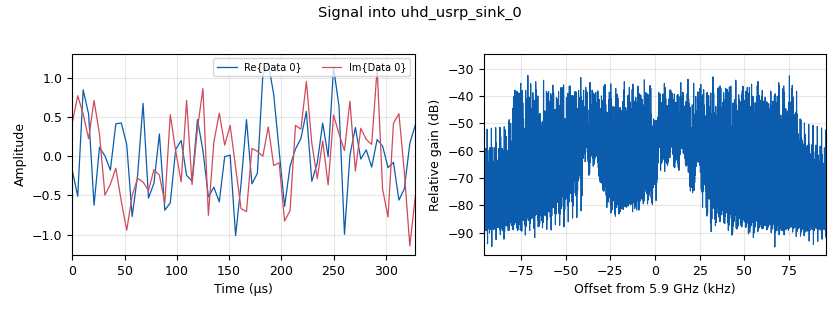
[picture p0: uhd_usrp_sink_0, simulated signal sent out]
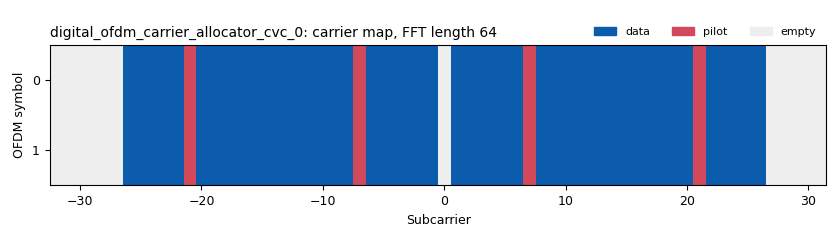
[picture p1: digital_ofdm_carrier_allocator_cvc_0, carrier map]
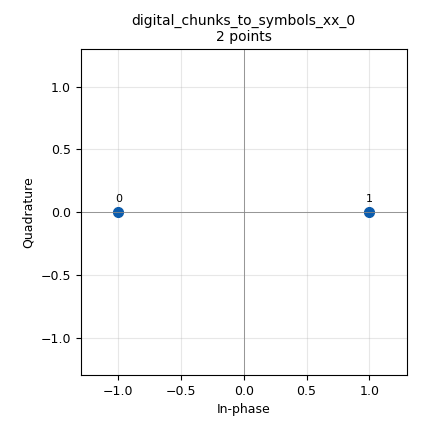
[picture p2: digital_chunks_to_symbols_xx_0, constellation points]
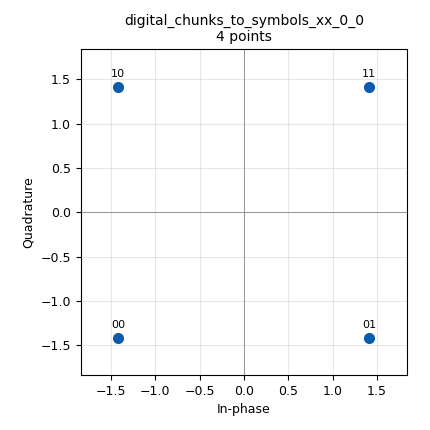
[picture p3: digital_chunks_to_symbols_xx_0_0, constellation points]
options:
  parameters:
    category: Custom
    description: Example of an OFDM receiver
    generate_options: no_gui
    id: rx_ofdm
    output_language: python
    title: OFDM Rx
  states: {}

blocks:
- name: date
  id: variable
  parameters:
    value: '"10_28"'
  states: {}
- name: fft_len
  id: variable
  parameters:
    value: '64'
  states: {}
- name: header_equalizer
  id: variable
  parameters:
    value: digital.ofdm_equalizer_simpledfe(fft_len, header_mod.base(), occupied_carriers, pilot_carriers, pilot_symbols)
  states: {}
- name: header_formatter
  id: variable
  parameters:
    value: digital.packet_header_ofdm(occupied_carriers, n_syms=1, len_tag_key=packet_length_tag_key, frame_len_tag_key=length_tag_key, bits_per_header_sym=header_mod.bits_per_symbol(), bits_per_payload_sym=payload_mod.bits_per_symbol(), scramble_header=False)
  states: {}
- name: header_mod
  id: variable
  parameters:
    value: digital.constellation_bpsk()
  states: {}
- name: length_tag_key
  id: variable
  parameters:
    value: '"frame_len"'
  states: {}
- name: occupied_carriers
  id: variable
  parameters:
    value: (list(range(-26, -21)) + list(range(-20, -7)) + list(range(-6, 0)) + list(range(1, 7)) + list(range(8, 21)) + list(range(22, 27)),)
  states: {}
- name: packet_len
  id: variable
  parameters:
    value: '32'
  states: {}
- name: packet_length_tag_key
  id: variable
  parameters:
    value: '"packet_len"'
  states: {}
- name: payload_equalizer
  id: variable
  parameters:
    value: digital.ofdm_equalizer_simpledfe(fft_len, payload_mod.base(), occupied_carriers, pilot_carriers, pilot_symbols, 1)
  states: {}
- name: payload_equalizer_1
  id: variable
  parameters:
    value: digital.ofdm_equalizer_simpledfe(fft_len, payload_mod.base(), occupied_carriers, pilot_carriers, pilot_symbols, 1,enable_soft_output = True)
  states: {}
- name: payload_mod
  id: variable
  parameters:
    value: digital.constellation_qpsk()
  states: {}
- name: pilot_carriers
  id: variable
  parameters:
    value: ((-21, -7, 7, 21,),)
  states: {}
- name: pilot_symbols
  id: variable
  parameters:
    value: ((1, 1, 1, -1,),)
  states: {}
- name: rolloff
  id: variable
  parameters:
    value: '0'
  states: {}
- name: samp_rate
  id: variable
  parameters:
    value: 192e3
  states: {}
- name: sdigit
  id: variable
  parameters:
    value: '"num_0_4"'
  states: {}
- name: sync_word1
  id: variable
  parameters:
    value: '[0., 0., 0., 0., 0., 0., 0., 1.41421356, 0., -1.41421356, 0., 1.41421356, 0., -1.41421356, 0., -1.41421356, 0., -1.41421356, 0., 1.41421356, 0., -1.41421356, 0., 1.41421356, 0., -1.41421356, 0., -1.41421356, 0., -1.41421356, 0., -1.41421356, 0., 1.41421356, 0., -1.41421356, 0., 1.41421356, 0., 1.41421356, 0., 1.41421356, 0., -1.41421356, 0., 1.41421356, 0., 1.41421356, 0., 1.41421356, 0., -1.41421356, 0., 1.41421356, 0., 1.41421356, 0., 1.41421356, 0., 0., 0., 0., 0., 0.]'
  states: {}
- name: sync_word2
  id: variable
  parameters:
    value: '[0j, 0j, 0j, 0j, 0j, 0j, (-1+0j), (-1+0j), (-1+0j), (-1+0j), (1+0j), (1+0j), (-1+0j), (-1+0j), (-1+0j), (1+0j), (-1+0j), (1+0j), (1+0j), (1 +0j), (1+0j), (1+0j), (-1+0j), (-1+0j), (-1+0j), (-1+0j), (-1+0j), (1+0j), (-1+0j), (-1+0j), (1+0j), (-1+0j), 0j, (1+0j), (-1+0j), (1+0j), (1+0j), (1+0j), (-1+0j), (1+0j), (1+0j), (1+0j), (-1+0j), (1+0j), (1+0j), (1+0j), (1+0j), (-1+0j), (1+0j), (-1+0j), (-1+0j), (-1+0j), (1+0j), (-1+0j), (1+0j), (-1+0j), (-1+0j), (-1+0j), (-1+0j), 0j, 0j, 0j, 0j, 0j]'
  states: {}
- name: analog_frequency_modulator_fc_0
  id: analog_frequency_modulator_fc
  parameters:
    sensitivity: '-2.0/fft_len'
  states: {}
- name: analog_frequency_modulator_fc_0_0
  id: analog_frequency_modulator_fc
  parameters:
    sensitivity: '-2.0/fft_len'
  states: {state: disabled}
- name: analog_random_source_x_0
  id: analog_random_source_x
  parameters:
    max: '255'
    min: '0'
    num_samps: '1000'
    repeat: 'True'
    type: byte
  states: {state: disabled}
- name: blocks_delay_0
  id: blocks_delay
  parameters:
    delay: fft_len+fft_len//4
    type: complex
  states: {}
- name: blocks_delay_0_0
  id: blocks_delay
  parameters:
    delay: fft_len+fft_len//4
    type: complex
  states: {state: disabled}
- name: blocks_multiply_const_vxx_0
  id: blocks_multiply_const_vxx
  parameters:
    const: '0.05'
    type: complex
  states: {}
- name: blocks_multiply_xx_0
  id: blocks_multiply_xx
  parameters:
    type: complex
  states: {}
- name: blocks_multiply_xx_0_0
  id: blocks_multiply_xx
  parameters:
    type: complex
  states: {state: disabled}
- name: blocks_repack_bits_bb_0
  id: blocks_repack_bits_bb
  parameters:
    align_output: 'True'
    endianness: gr.GR_LSB_FIRST
    k: payload_mod.bits_per_symbol()
    l: '8'
    len_tag_key: packet_length_tag_key
  states: {}
- name: blocks_repack_bits_bb_0_0
  id: blocks_repack_bits_bb
  parameters:
    endianness: gr.GR_LSB_FIRST
    k: '8'
    l: payload_mod.bits_per_symbol()
    len_tag_key: length_tag_key
  states: {}
- name: blocks_repack_bits_bb_0_1
  id: blocks_repack_bits_bb
  parameters:
    align_output: 'True'
    endianness: gr.GR_LSB_FIRST
    k: payload_mod.bits_per_symbol()
    l: '8'
    len_tag_key: packet_length_tag_key
  states: {state: disabled}
- name: blocks_stream_to_tagged_stream_0
  id: blocks_stream_to_tagged_stream
  parameters:
    len_tag_key: length_tag_key
    packet_len: packet_len
    type: byte
  states: {}
- name: blocks_tag_debug_1
  id: blocks_tag_debug
  parameters:
    name: Rx Bytes
    type: byte
  states: {}
- name: blocks_tag_debug_1_0
  id: blocks_tag_debug
  parameters:
    name: Rx Bytes
    type: byte
  states: {state: disabled}
- name: blocks_tag_gate_0
  id: blocks_tag_gate
  parameters:
    propagate_tags: 'False'
    type: complex
  states: {}
- name: blocks_tagged_stream_mux_0
  id: blocks_tagged_stream_mux
  parameters:
    lengthtagname: length_tag_key
    ninputs: '2'
    type: complex
  states: {}
- name: blocks_throttle2_0
  id: blocks_throttle2
  parameters:
    samples_per_second: samp_rate
    type: complex
  states: {state: disabled}
- name: blocks_throttle2_0_0
  id: blocks_throttle2
  parameters:
    samples_per_second: samp_rate
    type: complex
  states: {state: disabled}
- name: blocks_vector_source_x_0
  id: blocks_vector_source_x
  parameters:
    repeat: 'True'
    type: byte
    vector: (61, 4, 174, 32, 35, 122, 114, 215, 180, 187, 218, 60, 200, 89, 217, 33, 58, 107, 182, 234, 121, 79, 219, 46, 24, 25, 26, 27, 28, 29, 30, 31)
  states: {}
- name: channels_channel_model_0
  id: channels_channel_model
  parameters:
    block_tags: 'True'
    epsilon: '1.0'
    freq_offset: 0 * 1.0/fft_len
    noise_voltage: '0.1'
    seed: '0'
    taps: '1.0'
  states: {state: disabled}
- name: customModule_Serlizsig_0
  id: customModule_Serlizsig
  parameters:
    carr_offset_key: ''
    fft_len: fft_len
    input_is_shifted: 'True'
    len_tag_key: length_tag_key
    occupied_carriers: occupied_carriers
    packet_len_tag_key: packet_length_tag_key
    signal_filename: '"Corase_grained_CFO_3_8_testing.txt"'
    symbols_skipped: '1'
    taps_filename: ''
  states: {state: disabled}
- name: customModule_Serlizsig_0_0
  id: customModule_Serlizsig
  parameters:
    carr_offset_key: ''
    fft_len: fft_len
    input_is_shifted: 'True'
    len_tag_key: length_tag_key
    occupied_carriers: occupied_carriers
    packet_len_tag_key: packet_length_tag_key
    signal_filename: f"baseband_{date}_{sdigit}.txt"
    symbols_skipped: '1'
    taps_filename: f"taps_{date}_{sdigit}.txt"
  states: {}
- name: customModule_Serlizsig_0_0_0
  id: customModule_Serlizsig
  parameters:
    carr_offset_key: ''
    fft_len: fft_len
    input_is_shifted: 'True'
    len_tag_key: length_tag_key
    occupied_carriers: occupied_carriers
    packet_len_tag_key: packet_length_tag_key
    signal_filename: '"baseband_3_22_1.txt"'
    symbols_skipped: '1'
    taps_filename: '"taps_3_22_1.txt"'
  states: {state: disabled}
- name: customModule_Serlizsig_0_0_1
  id: customModule_Serlizsig
  parameters:
    carr_offset_key: ''
    fft_len: fft_len
    input_is_shifted: 'True'
    len_tag_key: length_tag_key
    occupied_carriers: occupied_carriers
    packet_len_tag_key: packet_length_tag_key
    signal_filename: f"baseband_{date}_{sdigit}_noeq.txt"
    symbols_skipped: '1'
    taps_filename: '"not_useful_taps.txt"'
  states: {state: disabled}
- name: customModule_Serlizsig_0_0_1_0
  id: customModule_Serlizsig
  parameters:
    carr_offset_key: ''
    fft_len: fft_len
    input_is_shifted: 'True'
    len_tag_key: length_tag_key
    occupied_carriers: occupied_carriers
    packet_len_tag_key: packet_length_tag_key
    signal_filename: f"eve_baseband_{date}_{loc}_{device_index}_noeq.txt"
    symbols_skipped: '1'
    taps_filename: '"not_useful_taps.txt"'
  states: {state: disabled}
- name: customModule_Serlizsig_0_0_2
  id: customModule_Serlizsig
  parameters:
    carr_offset_key: ''
    fft_len: fft_len
    input_is_shifted: 'True'
    len_tag_key: length_tag_key
    occupied_carriers: occupied_carriers
    packet_len_tag_key: packet_length_tag_key
    signal_filename: f"baseband_{date}_{loc}_{device_index}_mapping.txt"
    symbols_skipped: '1'
    taps_filename: '"useless.txt"'
  states: {state: disabled}
- name: customModule_Serlizsig_0_0_2_0
  id: customModule_Serlizsig
  parameters:
    carr_offset_key: ''
    fft_len: fft_len
    input_is_shifted: 'True'
    len_tag_key: length_tag_key
    occupied_carriers: occupied_carriers
    packet_len_tag_key: packet_length_tag_key
    signal_filename: f"baseband_{date}_{loc}_{device_index}_mapping.txt"
    symbols_skipped: '1'
    taps_filename: '"useless.txt"'
  states: {state: disabled}
- name: customModule_Serlizsig_0_0_3
  id: customModule_Serlizsig
  parameters:
    carr_offset_key: ''
    fft_len: fft_len
    input_is_shifted: 'True'
    len_tag_key: length_tag_key
    occupied_carriers: occupied_carriers
    packet_len_tag_key: packet_length_tag_key
    signal_filename: f"baseband_{date}_{loc}_{device_index}_nomapping.txt"
    symbols_skipped: '1'
    taps_filename: f"eve_taps_{date}_{loc}_{device_index}.txt"
  states: {state: disabled}
- name: customModule_getBaseband_0
  id: customModule_getBaseband
  parameters:
    baseband_filename: '"baseband1.txt"'
    fft_len: fft_len
  states: {state: disabled}
- name: customModule_getCFO_0
  id: customModule_getCFO
  parameters:
    freq_offsets_filename: '"Corase_grained_CFO_3_8_testing.txt"'
    sensitivity: '-2.0/fft_len'
  states: {state: disabled}
- name: customModule_getEqlizedsig_0
  id: customModule_getEqlizedsig
  parameters:
    cp_len: fft_len // 4
    equalizer: payload_equalizer_1.base()
    equlizedsig_filename: '"eqsig_test.txt"'
    fft_len: fft_len
    len_tag_key: length_tag_key
  states: {state: disabled}
- name: customModule_getEqlizedsig_0_0
  id: customModule_getEqlizedsig
  parameters:
    cp_len: fft_len // 4
    equalizer: payload_equalizer_1.base()
    equlizedsig_filename: '"eqsig_test.txt"'
    fft_len: fft_len
    len_tag_key: length_tag_key
  states: {state: disabled}
- name: customModule_getPayload_0
  id: customModule_getPayload
  parameters:
    fft_len: fft_len
    payload_filename: f"fft_payload_{date}_{sdigit}.txt"
  states: {}
- name: customModule_getPayload_0_0
  id: customModule_getPayload
  parameters:
    fft_len: fft_len
    payload_filename: f"eve_rawiq_{date}_{device_index}.txt"
  states: {state: disabled}
- name: customModule_getPayload_2
  id: customModule_getPayload
  parameters:
    fft_len: fft_len
    payload_filename: '"header_2_20.txt"'
  states: {state: disabled}
- name: customModule_getSignal_0
  id: customModule_getSignal
  parameters:
    signal_filename: '"transimitted_signal_2_20.txt"'
    type: complex
  states: {state: disabled}
- name: customModule_getSignal_1
  id: customModule_getSignal
  parameters:
    signal_filename: f"after_crc_{date}_{sdigit}.txt"
    type: byte
  states: {}
- name: customModule_getSyncsymbol_0
  id: customModule_getSyncsymbol
  parameters:
    force_one_symbol: 'False'
    max_carr_offset: '3'
    n_data_symbols: '1'
    sync_filename1: '"fine_cfo_3_11_b_1.txt"'
    sync_filename2: '"sync_testing.txt"'
    sync_symbol1: sync_word1
    sync_symbol2: sync_word2
  states: {state: disabled}
- name: customModule_getTaps_0
  id: customModule_getTaps
  parameters:
    carrier_offsets_filename: '"offsets_2_26.txt"'
    channel_taps_filename: '"tap_2_20.txt"'
    cp_len: int(fft_len/4)
    fft_len: fft_len
    fixed_frame_len: '0'
    propagate_channel_state: 'True'
  states: {state: disabled}
- name: customModule_recordBaseband_0
  id: customModule_recordBaseband
  parameters:
    cfo_filename: ''
    cfo_type: complex
    guard_interval: fft_len // 4
    header_len: ''
    header_padding: '0'
    items_per_symbol: fft_len
    length_tag_key: '"frame_len"'
    output_symbols: 'False'
    payload_filename: ''
    rawiq_filename: ''
    samp_rate: samp_rate
    special_tags: (,)
    timing_tag_key: '"rx_time"'
    trigger_tag_key: '""'
    type: complex
  states: {state: disabled}
- name: customModule_recordBaseband_1
  id: customModule_recordBaseband
  parameters:
    cfo_filename: f"corase_cfo_{date}_{sdigit}.txt"
    cfo_type: float
    guard_interval: fft_len // 4
    header_len: '3'
    header_padding: '0'
    items_per_symbol: fft_len
    length_tag_key: length_tag_key
    output_symbols: 'True'
    payload_filename: '"okoko.txt"'
    rawiq_filename: f"rawiq_{date}_{sdigit}.txt"
    samp_rate: samp_rate
    special_tags: ()
    timing_tag_key: '"rx_time"'
    trigger_tag_key: '""'
    type: complex
  states: {}
- name: customModule_recordBaseband_1_0
  id: customModule_recordBaseband
  parameters:
    cfo_filename: f"eve_corase_cfo_{date}_{loc}_{device_index}.txt"
    cfo_type: float
    guard_interval: fft_len // 4
    header_len: '3'
    header_padding: '0'
    items_per_symbol: fft_len
    length_tag_key: length_tag_key
    output_symbols: 'True'
    payload_filename: '"okoko.txt"'
    rawiq_filename: f"eve_rawiq_{date}_{loc}_{device_index}.txt"
    samp_rate: samp_rate
    special_tags: ()
    timing_tag_key: '"rx_time"'
    trigger_tag_key: '""'
    type: complex
  states: {state: disabled}
- name: digital_chunks_to_symbols_xx_0
  id: digital_chunks_to_symbols_xx
  parameters:
    dimension: '1'
    in_type: byte
    out_type: complex
    symbol_table: header_mod.points()
  states: {}
- name: digital_chunks_to_symbols_xx_0_0
  id: digital_chunks_to_symbols_xx
  parameters:
    dimension: '1'
    in_type: byte
    out_type: complex
    symbol_table: payload_mod.points()
  states: {}
- name: digital_constellation_decoder_cb_0
  id: digital_constellation_decoder_cb
  parameters:
    constellation: header_mod.base()
  states: {}
- name: digital_constellation_decoder_cb_0_0
  id: digital_constellation_decoder_cb
  parameters:
    constellation: header_mod.base()
  states: {state: disabled}
- name: digital_constellation_decoder_cb_1
  id: digital_constellation_decoder_cb
  parameters:
    constellation: payload_mod.base()
  states: {}
- name: digital_constellation_decoder_cb_1_0
  id: digital_constellation_decoder_cb
  parameters:
    constellation: payload_mod.base()
  states: {state: disabled}
- name: digital_crc32_bb_0
  id: digital_crc32_bb
  parameters:
    check: 'True'
    lengthtagname: packet_length_tag_key
    packed: 'True'
  states: {}
- name: digital_crc32_bb_0_0
  id: digital_crc32_bb
  parameters:
    check: 'False'
    lengthtagname: length_tag_key
    packed: 'True'
  states: {}
- name: digital_crc32_bb_0_1
  id: digital_crc32_bb
  parameters:
    check: 'True'
    lengthtagname: packet_length_tag_key
    packed: 'True'
  states: {state: disabled}
- name: digital_header_payload_demux_0
  id: digital_header_payload_demux
  parameters:
    guard_interval: fft_len//4
    header_len: '3'
    header_padding: '0'
    items_per_symbol: fft_len
    length_tag_key: length_tag_key
    output_symbols: 'True'
    samp_rate: samp_rate
    special_tags: ()
    timing_tag_key: '"rx_time"'
    type: complex
  states: {state: disabled}
- name: digital_ofdm_carrier_allocator_cvc_0
  id: digital_ofdm_carrier_allocator_cvc
  parameters:
    fft_len: fft_len
    len_tag_key: length_tag_key
    occupied_carriers: occupied_carriers
    output_is_shifted: 'True'
    pilot_carriers: pilot_carriers
    pilot_symbols: pilot_symbols
    sync_words: (sync_word1, sync_word2)
  states: {}
- name: digital_ofdm_chanest_vcvc_0
  id: digital_ofdm_chanest_vcvc
  parameters:
    force_one_symbol: 'False'
    max_carr_offset: '3'
    n_data_symbols: '1'
    sync_symbol1: sync_word1
    sync_symbol2: sync_word2
  states: {}
- name: digital_ofdm_chanest_vcvc_0_0
  id: digital_ofdm_chanest_vcvc
  parameters:
    force_one_symbol: 'False'
    max_carr_offset: '3'
    n_data_symbols: '1'
    sync_symbol1: sync_word1
    sync_symbol2: sync_word2
  states: {state: disabled}
- name: digital_ofdm_cyclic_prefixer_0
  id: digital_ofdm_cyclic_prefixer
  parameters:
    cp_len: fft_len//4
    input_size: fft_len
    rolloff: rolloff
    tagname: length_tag_key
  states: {}
- name: digital_ofdm_frame_equalizer_vcvc_0
  id: digital_ofdm_frame_equalizer_vcvc
  parameters:
    cp_len: fft_len//4
    equalizer: header_equalizer.base()
    fft_len: fft_len
    fixed_frame_len: '1'
    len_tag_key: length_tag_key
    propagate_channel_state: 'True'
  states: {}
- name: digital_ofdm_frame_equalizer_vcvc_0_0
  id: digital_ofdm_frame_equalizer_vcvc
  parameters:
    cp_len: fft_len//4
    equalizer: header_equalizer.base()
    fft_len: fft_len
    fixed_frame_len: '1'
    len_tag_key: length_tag_key
    propagate_channel_state: 'True'
  states: {state: disabled}
- name: digital_ofdm_frame_equalizer_vcvc_1
  id: digital_ofdm_frame_equalizer_vcvc
  parameters:
    cp_len: fft_len//4
    equalizer: payload_equalizer.base()
    fft_len: fft_len
    len_tag_key: length_tag_key
    propagate_channel_state: 'True'
  states: {}
- name: digital_ofdm_frame_equalizer_vcvc_1_0
  id: digital_ofdm_frame_equalizer_vcvc
  parameters:
    cp_len: fft_len//4
    equalizer: payload_equalizer_1.base()
    fft_len: fft_len
    len_tag_key: length_tag_key
    propagate_channel_state: 'True'
  states: {}
- name: digital_ofdm_frame_equalizer_vcvc_1_0_0
  id: digital_ofdm_frame_equalizer_vcvc
  parameters:
    cp_len: fft_len//4
    equalizer: payload_equalizer_1.base()
    fft_len: fft_len
    len_tag_key: length_tag_key
    propagate_channel_state: 'True'
  states: {state: disabled}
- name: digital_ofdm_frame_equalizer_vcvc_1_1
  id: digital_ofdm_frame_equalizer_vcvc
  parameters:
    cp_len: fft_len//4
    equalizer: payload_equalizer.base()
    fft_len: fft_len
    len_tag_key: length_tag_key
    propagate_channel_state: 'True'
  states: {state: disabled}
- name: digital_ofdm_serializer_vcc_header
  id: digital_ofdm_serializer_vcc
  parameters:
    carr_offset_key: ''
    fft_len: fft_len
    len_tag_key: length_tag_key
    occupied_carriers: occupied_carriers
    packet_len_tag_key: ''
  states: {}
- name: digital_ofdm_serializer_vcc_header_0
  id: digital_ofdm_serializer_vcc
  parameters:
    carr_offset_key: ''
    fft_len: fft_len
    len_tag_key: length_tag_key
    occupied_carriers: occupied_carriers
    packet_len_tag_key: ''
  states: {state: disabled}
- name: digital_ofdm_serializer_vcc_payload
  id: digital_ofdm_serializer_vcc
  parameters:
    carr_offset_key: ''
    fft_len: fft_len
    len_tag_key: length_tag_key
    occupied_carriers: occupied_carriers
    packet_len_tag_key: packet_length_tag_key
    symbols_skipped: '1'
  states: {}
- name: digital_ofdm_serializer_vcc_payload_0
  id: digital_ofdm_serializer_vcc
  parameters:
    carr_offset_key: ''
    fft_len: fft_len
    len_tag_key: length_tag_key
    occupied_carriers: occupied_carriers
    packet_len_tag_key: packet_length_tag_key
    symbols_skipped: '1'
  states: {state: disabled}
- name: digital_ofdm_serializer_vcc_payload_1
  id: digital_ofdm_serializer_vcc
  parameters:
    carr_offset_key: ''
    fft_len: fft_len
    len_tag_key: length_tag_key
    occupied_carriers: occupied_carriers
    packet_len_tag_key: packet_length_tag_key
    symbols_skipped: '1'
  states: {state: disabled}
- name: digital_ofdm_sync_sc_cfb_0
  id: digital_ofdm_sync_sc_cfb
  parameters:
    cp_len: fft_len//4
    fft_len: fft_len
    threshold: '0.9'
  states: {}
- name: digital_ofdm_sync_sc_cfb_0_0
  id: digital_ofdm_sync_sc_cfb
  parameters:
    cp_len: fft_len//4
    fft_len: fft_len
    threshold: '0.9'
  states: {state: disabled}
- name: digital_packet_headergenerator_bb_0
  id: digital_packet_headergenerator_bb
  parameters:
    header_formatter: header_formatter.base()
    len_tag_key: length_tag_key
  states: {}
- name: digital_packet_headerparser_b_0
  id: digital_packet_headerparser_b
  parameters:
    header_formatter: header_formatter.base()
  states: {}
- name: digital_packet_headerparser_b_0_0
  id: digital_packet_headerparser_b
  parameters:
    header_formatter: header_formatter.base()
  states: {state: disabled}
- name: eve_uhd_usrp_source_0_0
  id: uhd_usrp_source
  parameters:
    ant0: '"TX/RX"'
    bw0: samp_rate
    center_freq0: 5.68e9
    dev_addr: '"addr=192.168.10.6"'
    gain0: '0.99'
    gain_type0: normalized
    samp_rate: samp_rate
    sync: sync
    type: fc32
  states: {state: disabled}
- name: fft_vxx_0
  id: fft_vxx
  parameters:
    fft_size: fft_len
    forward: 'True'
    shift: 'True'
    type: complex
    window: ()
  states: {}
- name: fft_vxx_0_0
  id: fft_vxx
  parameters:
    fft_size: fft_len
    forward: 'False'
    shift: 'True'
    type: complex
    window: ()
  states: {}
- name: fft_vxx_0_1
  id: fft_vxx
  parameters:
    fft_size: fft_len
    forward: 'True'
    shift: 'True'
    type: complex
    window: ()
  states: {state: disabled}
- name: fft_vxx_1
  id: fft_vxx
  parameters:
    fft_size: fft_len
    forward: 'True'
    shift: 'True'
    type: complex
    window: ()
  states: {}
- name: fft_vxx_1_0
  id: fft_vxx
  parameters:
    fft_size: fft_len
    forward: 'True'
    shift: 'True'
    type: complex
    window: ()
  states: {state: disabled}
- name: header_bits
  id: virtual_sink
  parameters:
    stream_id: Header Bits
  states: {}
- name: import_1
  id: import
  parameters:
    imports: from gnuradio.digital.utils import tagged_streams
  states: {}
- name: qtgui_const_sink_x_0
  id: qtgui_const_sink_x
  parameters:
    size: '1024'
    type: complex
  states: {state: disabled}
- name: qtgui_const_sink_x_0_0
  id: qtgui_const_sink_x
  parameters:
    size: '1024'
    type: complex
  states: {state: disabled}
- name: qtgui_const_sink_x_0_0_0
  id: qtgui_const_sink_x
  parameters:
    size: '1024'
    type: complex
  states: {state: disabled}
- name: qtgui_freq_sink_x_0
  id: qtgui_freq_sink_x
  parameters:
    bw: 1e3
    fc: '0'
    fftsize: '1024'
    type: complex
  states: {state: disabled}
- name: uhd_usrp_sink_0
  id: uhd_usrp_sink
  parameters:
    ant0: '"TX/RX"'
    bw0: samp_rate
    center_freq0: 5.9e9
    dev_addr: '"addr=192.168.10.5"'
    gain0: '0.8'
    gain_type0: normalized
    samp_rate: samp_rate
    sync: sync
    type: fc32
  states: {}
- name: uhd_usrp_source_0
  id: uhd_usrp_source
  parameters:
    ant0: '"RX2"'
    bw0: samp_rate
    center_freq0: 5.9e9
    dev_addr: '"addr=192.168.10.5"'
    gain0: '0.8'
    gain_type0: normalized
    samp_rate: samp_rate
    sync: sync
    type: fc32
  states: {}
- name: virtual_sink_0
  id: virtual_sink
  parameters:
    stream_id: Header Stream
  states: {}
- name: virtual_sink_0_0
  id: virtual_sink
  parameters:
    stream_id: Payload Bits
  states: {}
- name: virtual_sink_0_0_0
  id: virtual_sink
  parameters:
    stream_id: Pre-OFDM
  states: {}
- name: virtual_sink_0_1
  id: virtual_sink
  parameters:
    stream_id: Time Domain
  states: {}
- name: virtual_sink_0_2
  id: virtual_sink
  parameters:
    stream_id: eve Header Stream
  states: {state: disabled}
- name: virtual_sink_1
  id: virtual_sink
  parameters:
    stream_id: Payload Stream
  states: {}
- name: virtual_sink_1_0
  id: virtual_sink
  parameters:
    stream_id: Payload IQ
  states: {}
- name: virtual_sink_1_0_0
  id: virtual_sink
  parameters:
    stream_id: eve Payload IQ
  states: {state: disabled}
- name: virtual_sink_1_1
  id: virtual_sink
  parameters:
    stream_id: Tx Signal
  states: {state: disabled}
- name: virtual_sink_1_2_3
  id: virtual_sink
  parameters:
    stream_id: eve Payload Stream
  states: {state: disabled}
- name: virtual_sink_2
  id: virtual_sink
  parameters:
    stream_id: '123456'
  states: {state: disabled}
- name: virtual_sink_2_0
  id: virtual_sink
  parameters:
    stream_id: '1234564'
  states: {state: disabled}
- name: virtual_sink_2_1
  id: virtual_sink
  parameters:
    stream_id: '1234567'
  states: {state: disabled}
- name: virtual_sink_2_2_0
  id: virtual_sink
  parameters:
    stream_id: '1234564443243'
  states: {state: disabled}
- name: virtual_sink_2_3
  id: virtual_sink
  parameters:
    stream_id: 1234569*
  states: {state: disabled}
- name: virtual_sink_2_3_0
  id: virtual_sink
  parameters:
    stream_id: 12345609*
  states: {}
- name: virtual_sink_2_3_0_0
  id: virtual_sink
  parameters:
    stream_id: 1234560943*
  states: {}
- name: virtual_sink_2_3_0_0_0
  id: virtual_sink
  parameters:
    stream_id: 12345602943*
  states: {state: disabled}
- name: virtual_sink_2_3_0_0_1
  id: virtual_sink
  parameters:
    stream_id: 1234560943*asd
  states: {}
- name: virtual_sink_2_3_0_1
  id: virtual_sink
  parameters:
    stream_id: 12345609*ew
  states: {state: disabled}
- name: virtual_sink_2_3_0_2
  id: virtual_sink
  parameters:
    stream_id: 12345609*asda
  states: {state: disabled}
- name: virtual_sink_2_3_0_2_0
  id: virtual_sink
  parameters:
    stream_id: 12345609*asdag
  states: {state: disabled}
- name: virtual_sink_2_3_0_3
  id: virtual_sink
  parameters:
    stream_id: 12345609*asd
  states: {state: disabled}
- name: virtual_sink_2_3_0_3_0
  id: virtual_sink
  parameters:
    stream_id: 12345609*asdd
  states: {state: disabled}
- name: virtual_sink_2_3_0_4
  id: virtual_sink
  parameters:
    stream_id: 12345609*f
  states: {state: disabled}
- name: virtual_sink_3
  id: virtual_sink
  parameters: {}
  states: {state: disabled}
- name: virtual_sink_3_0
  id: virtual_sink
  parameters:
    stream_id: '42343242'
  states: {state: disabled}
- name: virtual_sink_4
  id: virtual_sink
  parameters:
    stream_id: '456546546'
  states: {state: disabled}
- name: virtual_source_0
  id: virtual_source
  parameters:
    stream_id: Header Stream
  states: {}
- name: virtual_source_0_0
  id: virtual_source
  parameters:
    stream_id: Payload IQ
  states: {}
- name: virtual_source_0_0_0
  id: virtual_source
  parameters:
    stream_id: Payload Bits
  states: {}
- name: virtual_source_0_0_0_0
  id: virtual_source
  parameters:
    stream_id: Time Domain
  states: {}
- name: virtual_source_0_0_0_1
  id: virtual_source
  parameters:
    stream_id: Pre-OFDM
  states: {}
- name: virtual_source_0_0_1
  id: virtual_source
  parameters:
    stream_id: eve Payload IQ
  states: {state: disabled}
- name: virtual_source_0_1
  id: virtual_source
  parameters:
    stream_id: Header Bits
  states: {}
- name: virtual_source_0_2
  id: virtual_source
  parameters:
    stream_id: eve Header Stream
  states: {state: disabled}
- name: virtual_source_1
  id: virtual_source
  parameters:
    stream_id: Payload Stream
  states: {}
- name: virtual_source_1_0
  id: virtual_source
  parameters:
    stream_id: Tx Signal
  states: {state: disabled}
- name: virtual_source_1_1
  id: virtual_source
  parameters:
    stream_id: eve Payload Stream
  states: {state: disabled}

connections:
- [analog_frequency_modulator_fc_0, '0', blocks_multiply_xx_0, '0']
- [analog_frequency_modulator_fc_0, '0', qtgui_freq_sink_x_0, '0']
- [analog_frequency_modulator_fc_0_0, '0', blocks_multiply_xx_0_0, '0']
- [analog_random_source_x_0, '0', blocks_stream_to_tagged_stream_0, '0']
- [blocks_delay_0, '0', blocks_multiply_xx_0, '1']
- [blocks_delay_0, '0', customModule_recordBaseband_1, '2']
- [blocks_delay_0_0, '0', blocks_multiply_xx_0_0, '1']
- [blocks_delay_0_0, '0', customModule_recordBaseband_1_0, '2']
- [blocks_multiply_const_vxx_0, '0', blocks_tag_gate_0, '0']
- [blocks_multiply_xx_0, '0', customModule_recordBaseband_1, '0']
- [blocks_multiply_xx_0, '0', digital_header_payload_demux_0, '0']
- [blocks_multiply_xx_0_0, '0', customModule_recordBaseband_1_0, '0']
- [blocks_repack_bits_bb_0, '0', digital_crc32_bb_0, '0']
- [blocks_repack_bits_bb_0_0, '0', virtual_sink_0_0, '0']
- [blocks_repack_bits_bb_0_1, '0', digital_crc32_bb_0_1, '0']
- [blocks_stream_to_tagged_stream_0, '0', digital_crc32_bb_0_0, '0']
- [blocks_tag_gate_0, '0', blocks_throttle2_0_0, '0']
- [blocks_tag_gate_0, '0', customModule_getSignal_0, '0']
- [blocks_tag_gate_0, '0', uhd_usrp_sink_0, '0']
- [blocks_tagged_stream_mux_0, '0', virtual_sink_0_0_0, '0']
- [blocks_throttle2_0, '0', blocks_delay_0, '0']
- [blocks_throttle2_0, '0', digital_ofdm_sync_sc_cfb_0, '0']
- [blocks_throttle2_0_0, '0', virtual_sink_1_1, '0']
- [blocks_vector_source_x_0, '0', blocks_stream_to_tagged_stream_0, '0']
- [channels_channel_model_0, '0', blocks_throttle2_0, '0']
- [channels_channel_model_0, '0', customModule_recordBaseband_0, '0']
- [customModule_Serlizsig_0, out, virtual_sink_2_3, '0']
- [customModule_Serlizsig_0_0, out, virtual_sink_2_3_0, '0']
- [customModule_Serlizsig_0_0_0, out, virtual_sink_2_3_0_1, '0']
- [customModule_Serlizsig_0_0_1, out, virtual_sink_2_3_0_2, '0']
- [customModule_Serlizsig_0_0_1_0, out, virtual_sink_2_3_0_2_0, '0']
- [customModule_Serlizsig_0_0_2, out, virtual_sink_2_3_0_3, '0']
- [customModule_Serlizsig_0_0_2_0, out, virtual_sink_2_3_0_3_0, '0']
- [customModule_Serlizsig_0_0_3, out, virtual_sink_2_3_0_4, '0']
- [customModule_getBaseband_0, out, virtual_sink_2_1, '0']
- [customModule_getCFO_0, out, virtual_sink_3, '0']
- [customModule_getEqlizedsig_0, '0', customModule_Serlizsig_0_0_1, '0']
- [customModule_getEqlizedsig_0_0, '0', customModule_Serlizsig_0_0_1_0, '0']
- [customModule_getPayload_0, out, virtual_sink_2_3_0_0, '0']
- [customModule_getPayload_0_0, out, virtual_sink_2_3_0_0_0, '0']
- [customModule_getPayload_2, out, virtual_sink_2_2_0, '0']
- [customModule_getSignal_0, out, virtual_sink_3_0, '0']
- [customModule_getSignal_1, out, virtual_sink_2_3_0_0_1, '0']
- [customModule_getSyncsymbol_0, '0', virtual_sink_4, '0']
- [customModule_getTaps_0, out, virtual_sink_2, '0']
- [customModule_recordBaseband_0, '0', customModule_getBaseband_0, '0']
- [customModule_recordBaseband_1, '0', virtual_sink_0, '0']
- [customModule_recordBaseband_1, '1', virtual_sink_1, '0']
- [customModule_recordBaseband_1_0, '0', virtual_sink_0_2, '0']
- [customModule_recordBaseband_1_0, '1', virtual_sink_1_2_3, '0']
- [digital_chunks_to_symbols_xx_0, '0', blocks_tagged_stream_mux_0, '0']
- [digital_chunks_to_symbols_xx_0_0, '0', blocks_tagged_stream_mux_0, '1']
- [digital_chunks_to_symbols_xx_0_0, '0', qtgui_const_sink_x_0_0_0, '0']
- [digital_constellation_decoder_cb_0, '0', digital_packet_headerparser_b_0, '0']
- [digital_constellation_decoder_cb_0_0, '0', digital_packet_headerparser_b_0_0, '0']
- [digital_constellation_decoder_cb_1, '0', blocks_repack_bits_bb_0, '0']
- [digital_constellation_decoder_cb_1_0, '0', blocks_repack_bits_bb_0_1, '0']
- [digital_crc32_bb_0, '0', blocks_tag_debug_1, '0']
- [digital_crc32_bb_0, '0', customModule_getSignal_1, '0']
- [digital_crc32_bb_0_0, '0', blocks_repack_bits_bb_0_0, '0']
- [digital_crc32_bb_0_0, '0', digital_packet_headergenerator_bb_0, '0']
- [digital_crc32_bb_0_1, '0', blocks_tag_debug_1_0, '0']
- [digital_ofdm_carrier_allocator_cvc_0, '0', fft_vxx_0_0, '0']
- [digital_ofdm_chanest_vcvc_0, '0', customModule_getTaps_0, '0']
- [digital_ofdm_chanest_vcvc_0, '0', digital_ofdm_frame_equalizer_vcvc_0, '0']
- [digital_ofdm_chanest_vcvc_0_0, '0', digital_ofdm_frame_equalizer_vcvc_0_0, '0']
- [digital_ofdm_cyclic_prefixer_0, '0', virtual_sink_0_1, '0']
- [digital_ofdm_frame_equalizer_vcvc_0, '0', digital_ofdm_serializer_vcc_header, '0']
- [digital_ofdm_frame_equalizer_vcvc_0_0, '0', digital_ofdm_serializer_vcc_header_0, '0']
- [digital_ofdm_frame_equalizer_vcvc_1, '0', customModule_Serlizsig_0, '0']
- [digital_ofdm_frame_equalizer_vcvc_1, '0', customModule_Serlizsig_0_0_0, '0']
- [digital_ofdm_frame_equalizer_vcvc_1, '0', customModule_Serlizsig_0_0_2, '0']
- [digital_ofdm_frame_equalizer_vcvc_1, '0', digital_ofdm_serializer_vcc_payload, '0']
- [digital_ofdm_frame_equalizer_vcvc_1_0, '0', customModule_Serlizsig_0_0, '0']
- [digital_ofdm_frame_equalizer_vcvc_1_0_0, '0', customModule_Serlizsig_0_0_3, '0']
- [digital_ofdm_frame_equalizer_vcvc_1_1, '0', customModule_Serlizsig_0_0_2_0, '0']
- [digital_ofdm_frame_equalizer_vcvc_1_1, '0', digital_ofdm_serializer_vcc_payload_1, '0']
- [digital_ofdm_serializer_vcc_header, '0', digital_constellation_decoder_cb_0, '0']
- [digital_ofdm_serializer_vcc_header_0, '0', digital_constellation_decoder_cb_0_0, '0']
- [digital_ofdm_serializer_vcc_payload, '0', qtgui_const_sink_x_0, '0']
- [digital_ofdm_serializer_vcc_payload, '0', virtual_sink_1_0, '0']
- [digital_ofdm_serializer_vcc_payload_0, '0', qtgui_const_sink_x_0_0, '0']
- [digital_ofdm_serializer_vcc_payload_1, '0', virtual_sink_1_0_0, '0']
- [digital_ofdm_sync_sc_cfb_0, '0', analog_frequency_modulator_fc_0, '0']
- [digital_ofdm_sync_sc_cfb_0, '0', customModule_getCFO_0, '0']
- [digital_ofdm_sync_sc_cfb_0, '0', customModule_recordBaseband_1, '3']
- [digital_ofdm_sync_sc_cfb_0, '1', customModule_recordBaseband_0, '1']
- [digital_ofdm_sync_sc_cfb_0, '1', customModule_recordBaseband_1, '1']
- [digital_ofdm_sync_sc_cfb_0, '1', digital_header_payload_demux_0, '1']
- [digital_ofdm_sync_sc_cfb_0_0, '0', analog_frequency_modulator_fc_0_0, '0']
- [digital_ofdm_sync_sc_cfb_0_0, '0', customModule_recordBaseband_1_0, '3']
- [digital_ofdm_sync_sc_cfb_0_0, '1', customModule_recordBaseband_1_0, '1']
- [digital_packet_headergenerator_bb_0, '0', header_bits, '0']
- [digital_packet_headerparser_b_0, header_data, customModule_recordBaseband_1, header_data]
- [digital_packet_headerparser_b_0, header_data, digital_header_payload_demux_0, header_data]
- [digital_packet_headerparser_b_0_0, header_data, customModule_recordBaseband_1_0, header_data]
- [eve_uhd_usrp_source_0_0, '0', blocks_delay_0_0, '0']
- [eve_uhd_usrp_source_0_0, '0', digital_ofdm_sync_sc_cfb_0_0, '0']
- [fft_vxx_0, '0', customModule_getSyncsymbol_0, '0']
- [fft_vxx_0, '0', digital_ofdm_chanest_vcvc_0, '0']
- [fft_vxx_0_0, '0', digital_ofdm_cyclic_prefixer_0, '0']
- [fft_vxx_0_1, '0', customModule_getPayload_0_0, '0']
- [fft_vxx_0_1, '0', digital_ofdm_chanest_vcvc_0_0, '0']
- [fft_vxx_1, '0', customModule_getEqlizedsig_0, '0']
- [fft_vxx_1, '0', customModule_getPayload_0, '0']
- [fft_vxx_1, '0', digital_ofdm_frame_equalizer_vcvc_1, '0']
- [fft_vxx_1, '0', digital_ofdm_frame_equalizer_vcvc_1_0, '0']
- [fft_vxx_1, '0', digital_ofdm_serializer_vcc_payload_0, '0']
- [fft_vxx_1_0, '0', customModule_getEqlizedsig_0_0, '0']
- [fft_vxx_1_0, '0', digital_ofdm_frame_equalizer_vcvc_1_0_0, '0']
- [fft_vxx_1_0, '0', digital_ofdm_frame_equalizer_vcvc_1_1, '0']
- [uhd_usrp_source_0, '0', blocks_delay_0, '0']
- [uhd_usrp_source_0, '0', customModule_recordBaseband_0, '0']
- [uhd_usrp_source_0, '0', digital_ofdm_sync_sc_cfb_0, '0']
- [virtual_source_0, '0', customModule_getPayload_2, '0']
- [virtual_source_0, '0', fft_vxx_0, '0']
- [virtual_source_0_0, '0', digital_constellation_decoder_cb_1, '0']
- [virtual_source_0_0_0, '0', digital_chunks_to_symbols_xx_0_0, '0']
- [virtual_source_0_0_0_0, '0', blocks_multiply_const_vxx_0, '0']
- [virtual_source_0_0_0_1, '0', digital_ofdm_carrier_allocator_cvc_0, '0']
- [virtual_source_0_0_1, '0', digital_constellation_decoder_cb_1_0, '0']
- [virtual_source_0_1, '0', digital_chunks_to_symbols_xx_0, '0']
- [virtual_source_0_2, '0', fft_vxx_0_1, '0']
- [virtual_source_1, '0', fft_vxx_1, '0']
- [virtual_source_1_0, '0', channels_channel_model_0, '0']
- [virtual_source_1_1, '0', fft_vxx_1_0, '0']

metadata:
  file_format: 1
  grc_version: v3.11.0.0git-843-g6b25c171
